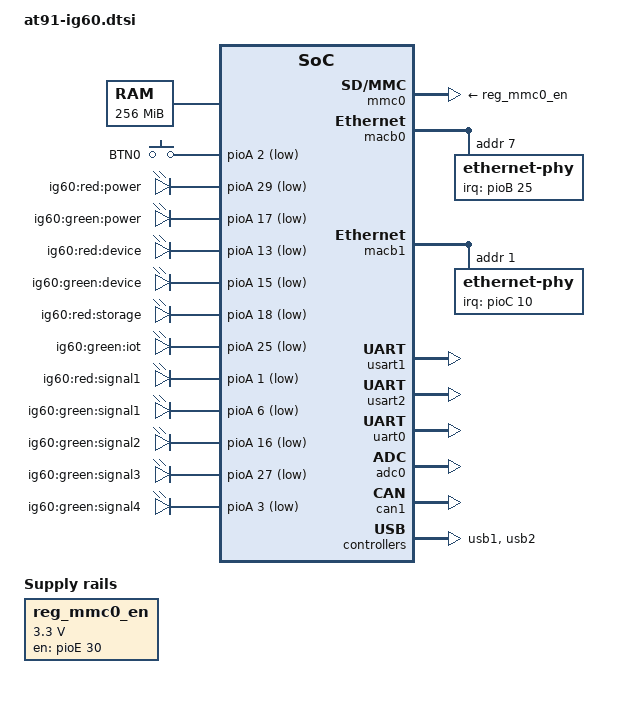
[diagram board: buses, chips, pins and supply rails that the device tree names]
// SPDX-License-Identifier: LicenseRef-Ezurio-Clause
/*
 * at91-ig60.dtsi - Device Tree file for IG60 board
 *
 * Copyright (C) 2018 Ezurio
 */

/ {
	memory@20000000 {
		reg = <0x20000000 0x10000000>;
	};

	reg_mmc0_en: reg_mmc0_en_grp {
		pinctrl-names = "default";
		pinctrl-0 = <&pinctrl_mmc0_en>;

		compatible = "regulator-fixed";
		regulator-name = "VDD MMC0";
		regulator-min-microvolt = <3300000>;
		regulator-max-microvolt = <3300000>;

		gpio = <&pioE 30 GPIO_ACTIVE_HIGH>;
		enable-active-high;
	};

	gpio_keys {
		compatible = "gpio-keys";
		#address-cells = <1>;
		#size-cells = <0>;

		btn0-pa2 {
			label = "BTN0";
			linux,code = <0x100>;		/* BTN0 button */
			gpios = <&pioA 2 GPIO_ACTIVE_LOW>;
			linux,input-type = <1>; 	/* EV.KEY */
			debounce-interval = <100>;	/* Debounce interval 100 ms */
		};
	};

	status_leds {
		compatible = "gpio-leds";

		led-1 {
			label = "ig60:red:power";
			gpios = <&pioA 29 GPIO_ACTIVE_LOW>;
			panic-indicator;
		};

		power_led_green: led-2 {
			label = "ig60:green:power";
			gpios = <&pioA 17 GPIO_ACTIVE_LOW>;
			linux,default-trigger = "timer";
			panic-indicator;
		};

		led-3 {
			label = "ig60:red:device";
			gpios = <&pioA 13 GPIO_ACTIVE_LOW>;
			default-state = "off";
		};

		led-4 {
			label = "ig60:green:device";
			gpios = <&pioA 15 GPIO_ACTIVE_LOW>;
			default-state = "off";
		};

		led-5 {
			label = "ig60:red:storage";
			gpios = <&pioA 18 GPIO_ACTIVE_LOW>;
			default-state = "off";
		};

		led-6 {
			label = "ig60:green:iot";
			gpios = <&pioA 25 GPIO_ACTIVE_LOW>;
			default-state = "off";
		};

		led-7 {
			label = "ig60:red:signal1";
			gpios = <&pioA 1 GPIO_ACTIVE_LOW>;
			default-state = "off";
		};

		led-8 {
			label = "ig60:green:signal1";
			gpios = <&pioA 6 GPIO_ACTIVE_LOW>;
			default-state = "off";
		};

		led-9 {
			label = "ig60:green:signal2";
			gpios = <&pioA 16 GPIO_ACTIVE_LOW>;
			default-state = "off";
		};

		led-10 {
			label = "ig60:green:signal3";
			gpios = <&pioA 27 GPIO_ACTIVE_LOW>;
			default-state = "off";
		};

		led-11 {
			label = "ig60:green:signal4";
			gpios = <&pioA 3 GPIO_ACTIVE_LOW>;
			default-state = "off";
		};
	};

};

&pioA {
	pinctrl-names = "default";
	pinctrl-0 = <&pinctrl_gpio_misc>;

	gpio-line-names =
		"", "", "", "", "", "", "", "lte_on",		/* 0-7 */
		"card_detect1", "lte_status", "card_detect2", "", "", "", "", "",	/* 8-15 */
		"", "", "", "card_detect3", "ser_rs485_hd", "bt_nautorun", "ser_nrs232", "bt_boot_mode",	/* 16-23 */
		"card_nreset", "", "bt_boot_status", "", "ser_term", "", "", "";	/* 24-31 */
};

&pioC {
	gpio-line-names =
		"", "", "", "", "", "", "", "",		/* 0-7 */
		"", "", "", "", "", "", "", "",		/* 8-15 */
		"", "", "", "", "", "", "", "",		/* 16-23 */
		"", "lte_fast_shdn", "", "", "lte_emerg_off", "", "", "";	/* 24-31 */
};

&pinctrl {
	board {
		pinctrl_mmc0_cd: mmc0_cd {
			atmel,pins =
				<AT91_PIOE 31 AT91_PERIPH_GPIO AT91_PINCTRL_DEGLITCH>;
		};

		pinctrl_mmc0_en: mmc0_en {
			atmel,pins =
				<AT91_PIOE 30 AT91_PERIPH_GPIO AT91_PINCTRL_NONE>;
		};

		pinctrl_usb_vbus: usb_vbus {
			atmel,pins =
				<AT91_PIOE 20 AT91_PERIPH_GPIO AT91_PINCTRL_NONE>;
		};

		pinctrl_usb_oc: usb_oc {
			atmel,pins =
				<AT91_PIOE 15 AT91_PERIPH_GPIO AT91_PINCTRL_DEGLITCH>;
		};

		pinctrl_lte_usb_vbus: lte_usb_vbus {
			atmel,pins =
				<AT91_PIOE 16 AT91_PERIPH_GPIO AT91_PINCTRL_NONE>;
		};

		pinctrl_geth_int: geth_int {
			atmel,pins =
				<AT91_PIOB 25 AT91_PERIPH_GPIO AT91_PINCTRL_DEGLITCH>;
		};

		pinctrl_eth_int: eth_int {
			atmel,pins =
				<AT91_PIOC 10 AT91_PERIPH_GPIO AT91_PINCTRL_DEGLITCH>;
		};

		pinctrl_gpio_misc: gpio_misc {
			atmel,pins =
				<AT91_PIOA 26 AT91_PERIPH_GPIO AT91_PINCTRL_NONE>,
				<AT91_PIOA 23 AT91_PERIPH_GPIO AT91_PINCTRL_NONE>,
				<AT91_PIOA 21 AT91_PERIPH_GPIO AT91_PINCTRL_NONE>,
				<AT91_PIOA 8 AT91_PERIPH_GPIO AT91_PINCTRL_PULL_UP>,
				<AT91_PIOA 10 AT91_PERIPH_GPIO AT91_PINCTRL_PULL_UP>,
				<AT91_PIOA 19 AT91_PERIPH_GPIO AT91_PINCTRL_PULL_UP>,
				<AT91_PIOA 24 AT91_PERIPH_GPIO AT91_PINCTRL_NONE>,
				<AT91_PIOA 20 AT91_PERIPH_GPIO AT91_PINCTRL_NONE>,
				<AT91_PIOA 28 AT91_PERIPH_GPIO AT91_PINCTRL_NONE>,
				<AT91_PIOA 22 AT91_PERIPH_GPIO AT91_PINCTRL_NONE>,
				<AT91_PIOA 7 AT91_PERIPH_GPIO AT91_PINCTRL_NONE>,
				<AT91_PIOC 28 AT91_PERIPH_GPIO AT91_PINCTRL_NONE>,
				<AT91_PIOC 25 AT91_PERIPH_GPIO AT91_PINCTRL_NONE>,
				<AT91_PIOA 9 AT91_PERIPH_GPIO AT91_PINCTRL_NONE>;
		};
	};
};

&mmc0 {
	pinctrl-names = "default";
	pinctrl-0 = <&pinctrl_mmc0_clk_cmd_dat0 &pinctrl_mmc0_dat1_3 &pinctrl_mmc0_cd>;

	vmmc-supply = <&reg_mmc0_en>;
	status = "okay";

	slot@0 {
		reg = <0>;
		bus-width = <4>;

		cd-gpios = <&pioE 31 GPIO_ACTIVE_HIGH>;
	};
};

&macb0 {
	status = "okay";

	ethernet-phy@7 {
		pinctrl-names = "default";
		pinctrl-0 = <&pinctrl_geth_int>;

		reg = <7>;
		interrupt-parent = <&pioB>;
		interrupts = <25 IRQ_TYPE_LEVEL_LOW>;

		micrel,force-master;
	};
};

&macb1 {
	status = "okay";

	ethernet-phy@1 {
		pinctrl-names = "default";
		pinctrl-0 = <&pinctrl_eth_int>;

		reg = <1>;
		interrupt-parent = <&pioC>;
		interrupts = <10 IRQ_TYPE_LEVEL_LOW>;
	};
};

&usart1 {
	pinctrl-0 = <&pinctrl_usart1 &pinctrl_usart1_rts_cts>;
	atmel,use-dma-rx;
	atmel,use-dma-tx;
	status = "okay";
};

&usart2 {
	pinctrl-0 = <&pinctrl_usart2 &pinctrl_usart2_rts_cts>;
	atmel,use-dma-rx;
	atmel,use-dma-tx;
	status = "okay";
};

&uart0 {
	status = "okay";
};

&adc0 {
	status = "okay";
};

&can1 {
	status = "okay";
};

&usb1 {
	pinctrl-names = "default";
	pinctrl-0 = <&pinctrl_usb_oc &pinctrl_usb_vbus &pinctrl_lte_usb_vbus>;

	num-ports = <3>;
	atmel,vbus-gpio = <0>, <&pioE 20 GPIO_ACTIVE_HIGH>, <&pioE 16 GPIO_ACTIVE_LOW>;
	atmel,oc-gpio = <0>, <&pioE 15 GPIO_ACTIVE_HIGH>, <0>;

	status = "okay";
};

&usb2 {
	status = "okay";
};
